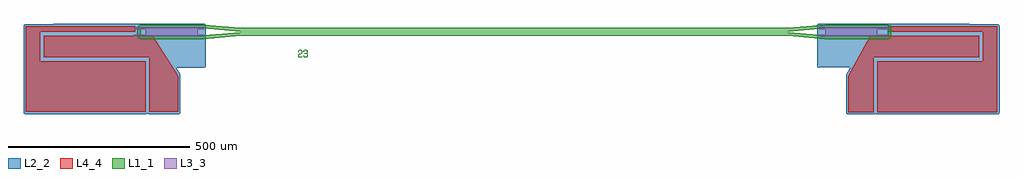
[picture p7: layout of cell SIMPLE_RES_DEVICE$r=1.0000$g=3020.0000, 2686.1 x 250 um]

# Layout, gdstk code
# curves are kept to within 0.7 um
import gdstk
lib = gdstk.Library(unit=1e-6, precision=1e-10)
def P(c, l, *ps):  # polygons
    for p in ps: c.add(gdstk.Polygon(p, *l))
L1_1 = (1, 1)
L2_2 = (2, 2)
L3_3 = (3, 3)
L4_4 = (4, 4)

simple_res_device_r_1_00 = lib.new_cell('SIMPLE_RES_DEVICE$r=1.0000$g=3020.0000')
P(simple_res_device_r_1_00, L1_1, [(-3350.848,-15.25),(-3357.1919,-12.9801),(-3360.6559,-7.2009),(-3360.6559,16.7009),(-3357.9191,21.8211),(-3352.7989,24.5579),(-3178.048,24.75),(-3077.579,15.35),(-2323.4,15.35),(-2323.4,5.35),(-3078.048,5.35),(-3178.048,14.75),(-3350.848,14.75),(-3350.848,-5.25),(-3178.048,-5.25),(-3078.048,4.15),(-2323.4,4.15),(-2323.4,-5.85),(-3077.579,-5.85),(-3178.048,-15.25)],
  [(-1468.752,-15.25),(-1569.221,-5.85),(-2323.4,-5.85),(-2323.4,4.15),(-1568.752,4.15),(-1468.752,-5.25),(-1295.952,-5.25),(-1295.952,14.75),(-1468.752,14.75),(-1568.752,5.35),(-2323.4,5.35),(-2323.4,15.35),(-1569.221,15.35),(-1468.752,24.75),(-1295.952,24.75),(-1290.3963,23.0647),(-1286.3826,17.6528),(-1285.952,-5.25),(-1286.7132,-9.0768),(-1288.8809,-12.3211),(-1292.1252,-14.4888),(-1295.952,-15.25)],
  [(-2898.466,-65.548),(-2900.924,-65.138),(-2901.944,-64.69),(-2902.878,-63.934),(-2903.454,-62.864),(-2903.628,-60.466),(-2902.064,-60.466),(-2901.802,-62.708),(-2901.036,-63.494),(-2899.882,-63.962),(-2898.584,-64.168),(-2896.268,-64.062),(-2895.162,-63.71),(-2894.238,-63.09),(-2893.566,-62.16),(-2893.566,-57.766),(-2893.794,-56.756),(-2894.41,-55.94),(-2895.288,-55.438),(-2896.506,-55.188),(-2900.782,-55.188),(-2900.782,-53.828),(-2896.798,-53.828),(-2895.778,-53.672),(-2894.79,-53.186),(-2894.048,-52.34),(-2893.754,-51.346),(-2893.882,-48.066),(-2894.458,-47.168),(-2895.376,-46.604),(-2896.426,-46.316),(-2898.562,-46.24),(-2900.878,-46.89),(-2901.644,-47.658),(-2901.92,-48.692),(-2901.92,-49.89),(-2903.486,-49.89),(-2903.486,-48.692),(-2903.336,-47.554),(-2902.814,-46.488),(-2901.928,-45.718),(-2899.572,-44.946),(-2897.154,-44.832),(-2894.712,-45.228),(-2893.724,-45.672),(-2892.838,-46.432),(-2892.332,-47.556),(-2892.3,-52.2),(-2892.704,-53.258),(-2893.446,-54.016),(-2894.434,-54.416),(-2892.576,-55.754),(-2892.134,-56.678),(-2892.008,-61.746),(-2892.182,-62.86),(-2892.758,-63.91),(-2893.692,-64.67),(-2896.07,-65.434)],
  [(-2918.154,-65.22),(-2918.154,-59.036),(-2917.846,-57.866),(-2917.008,-57.006),(-2915.862,-56.394),(-2910.242,-54.772),(-2909.198,-54.242),(-2908.408,-53.49),(-2908.526,-47.892),(-2909.166,-47.01),(-2911.316,-46.282),(-2914.93,-46.486),(-2915.886,-46.91),(-2916.636,-47.77),(-2916.866,-48.87),(-2916.866,-50.986),(-2918.4,-50.986),(-2918.328,-47.906),(-2917.894,-46.732),(-2917.112,-45.88),(-2914.874,-44.98),(-2911.096,-44.84),(-2908.748,-45.446),(-2907.87,-46.032),(-2907.166,-46.948),(-2906.788,-48.106),(-2906.788,-52.914),(-2906.97,-53.994),(-2907.594,-54.912),(-2908.478,-55.554),(-2910.566,-56.402),(-2914.274,-57.386),(-2915.396,-57.89),(-2916.274,-58.61),(-2916.534,-59.386),(-2916.534,-63.87),(-2906.708,-63.87),(-2906.708,-65.22)])
P(simple_res_device_r_1_00, L2_2, [(-1403.952,-222.5),(-1407.7584,-221.1381),(-1409.9231,-217.0881),(-1409.952,-116.5),(-1398.8806,-94.5),(-1483.952,-94.5),(-1486.7804,-93.7915),(-1488.9408,-91.8334),(-1489.952,-88.5),(-1489.952,21.5),(-1489.2435,24.3284),(-1486.7804,26.7915),(-1483.952,27.5),(-1073.952,27.5),(-1069.4894,25.5),(-993.3639,25.4711),(-990.6186,24.4888),(-988.6605,22.3284),(-987.952,19.5),(-987.952,-216.5),(-988.6605,-219.3284),(-991.1236,-221.7915),(-993.952,-222.5),(-1323.952,-222.5),(-1326.7804,-221.7915),(-1328.952,-219.8148),(-1331.1236,-221.7915),(-1333.952,-222.5)],
  [(-3668.048,-221.5),(-3672.2906,-219.7426),(-3674.048,-215.5),(-3674.048,19.5),(-3673.3395,22.3284),(-3670.8764,24.7915),(-3592.5106,25.5),(-3588.048,27.5),(-3178.048,27.5),(-3175.2196,26.7915),(-3172.7565,24.3284),(-3172.048,-88.5),(-3173.0592,-91.8334),(-3175.2196,-93.7915),(-3178.048,-94.5),(-3254.2998,-94.5),(-3242.0747,-114.9341),(-3242.048,-215.5),(-3242.7565,-218.3284),(-3245.2196,-220.7915),(-3328.048,-221.5),(-3330.8764,-220.7915),(-3333.048,-218.8148),(-3335.2196,-220.7915),(-3338.048,-221.5)])
P(simple_res_device_r_1_00, L3_3, [(-1483.952,-8),(-1483.952,-3),(-1468.197,-3),(-1468.197,11.75),(-1467.752,11.75),(-1467.752,-3),(-1467.752,-3),(-1466.397,-3),(-1466.397,11.75),(-1465.952,11.75),(-1465.952,-3),(-1464.597,-3),(-1464.597,11.75),(-1464.152,11.75),(-1464.152,-3),(-1462.797,-3),(-1462.797,11.75),(-1462.352,11.75),(-1462.352,-3),(-1460.997,-3),(-1460.997,11.75),(-1460.552,11.75),(-1460.552,-3),(-1459.197,-3),(-1459.197,11.75),(-1458.752,11.75),(-1458.752,-3),(-1457.397,-3),(-1457.397,11.75),(-1456.952,11.75),(-1456.952,-3),(-1455.597,-3),(-1455.597,11.75),(-1455.152,11.75),(-1455.152,-3),(-1453.797,-3),(-1453.797,11.75),(-1453.352,11.75),(-1453.352,-3),(-1451.997,-3),(-1451.997,11.75),(-1451.552,11.75),(-1451.552,-3),(-1450.197,-3),(-1450.197,11.75),(-1449.752,11.75),(-1449.752,-3),(-1448.397,-3),(-1448.397,11.75),(-1447.952,11.75),(-1447.952,-3),(-1446.597,-3),(-1446.597,11.75),(-1446.152,11.75),(-1446.152,-3),(-1444.797,-3),(-1444.797,11.75),(-1444.352,11.75),(-1444.352,-3),(-1442.997,-3),(-1442.997,11.75),(-1442.552,11.75),(-1442.552,-3),(-1441.197,-3),(-1441.197,11.75),(-1440.752,11.75),(-1440.752,-3),(-1439.397,-3),(-1439.397,11.75),(-1438.952,11.75),(-1438.952,-3),(-1437.597,-3),(-1437.597,11.75),(-1437.152,11.75),(-1437.152,-3),(-1435.797,-3),(-1435.797,11.75),(-1435.352,11.75),(-1435.352,-3),(-1433.997,-3),(-1433.997,11.75),(-1433.552,11.75),(-1433.552,-3),(-1432.197,-3),(-1432.197,11.75),(-1431.752,11.75),(-1431.752,-3),(-1430.397,-3),(-1430.397,11.75),(-1429.952,11.75),(-1429.952,-3),(-1428.597,-3),(-1428.597,11.75),(-1428.152,11.75),(-1428.152,-3),(-1426.797,-3),(-1426.797,11.75),(-1426.352,11.75),(-1426.352,-3),(-1424.997,-3),(-1424.997,11.75),(-1424.552,11.75),(-1424.552,-3),(-1423.197,-3),(-1423.197,11.75),(-1422.752,11.75),(-1422.752,-3),(-1421.397,-3),(-1421.397,11.75),(-1420.952,11.75),(-1420.952,-3),(-1419.597,-3),(-1419.597,11.75),(-1419.152,11.75),(-1419.152,-3),(-1417.797,-3),(-1417.797,11.75),(-1417.352,11.75),(-1417.352,-3),(-1415.997,-3),(-1415.997,11.75),(-1415.552,11.75),(-1415.552,-3),(-1414.197,-3),(-1414.197,11.75),(-1413.752,11.75),(-1413.752,-3),(-1412.397,-3),(-1412.397,11.75),(-1411.952,11.75),(-1411.952,-3),(-1410.597,-3),(-1410.597,11.75),(-1410.152,11.75),(-1410.152,-3),(-1408.797,-3),(-1408.797,11.75),(-1408.352,11.75),(-1408.352,-3),(-1406.997,-3),(-1406.997,11.75),(-1406.552,11.75),(-1406.552,-3),(-1405.197,-3),(-1405.197,11.75),(-1404.752,11.75),(-1404.752,-3),(-1403.397,-3),(-1403.397,11.75),(-1402.952,11.75),(-1402.952,-3),(-1401.597,-3),(-1401.597,11.75),(-1401.152,11.75),(-1401.152,-3),(-1399.797,-3),(-1399.797,11.75),(-1399.352,11.75),(-1399.352,-3),(-1397.997,-3),(-1397.997,11.75),(-1397.552,11.75),(-1397.552,-3),(-1396.197,-3),(-1396.197,11.75),(-1395.752,11.75),(-1395.752,-3),(-1394.397,-3),(-1394.397,11.75),(-1393.952,11.75),(-1393.952,-3),(-1392.597,-3),(-1392.597,11.75),(-1392.152,11.75),(-1392.152,-3),(-1390.797,-3),(-1390.797,11.75),(-1390.352,11.75),(-1390.352,-3),(-1388.997,-3),(-1388.997,11.75),(-1388.552,11.75),(-1388.552,-3),(-1387.197,-3),(-1387.197,11.75),(-1386.752,11.75),(-1386.752,-3),(-1385.397,-3),(-1385.397,11.75),(-1384.952,11.75),(-1384.952,-3),(-1383.597,-3),(-1383.597,11.75),(-1383.152,11.75),(-1383.152,-3),(-1381.797,-3),(-1381.797,11.75),(-1381.352,11.75),(-1381.352,-3),(-1379.997,-3),(-1379.997,11.75),(-1379.552,11.75),(-1379.552,-3),(-1378.197,-3),(-1378.197,11.75),(-1377.752,11.75),(-1377.752,-3),(-1376.397,-3),(-1376.397,11.75),(-1375.952,11.75),(-1375.952,-3),(-1374.597,-3),(-1374.597,11.75),(-1374.152,11.75),(-1374.152,-3),(-1372.797,-3),(-1372.797,11.75),(-1372.352,11.75),(-1372.352,-3),(-1370.997,-3),(-1370.997,11.75),(-1370.552,11.75),(-1370.552,-3),(-1369.197,-3),(-1369.197,11.75),(-1368.752,11.75),(-1368.752,-3),(-1367.397,-3),(-1367.397,11.75),(-1366.952,11.75),(-1366.952,-3),(-1365.597,-3),(-1365.597,11.75),(-1365.152,11.75),(-1365.152,-3),(-1363.797,-3),(-1363.797,11.75),(-1363.352,11.75),(-1363.352,-3),(-1361.997,-3),(-1361.997,11.75),(-1361.552,11.75),(-1361.552,-3),(-1360.197,-3),(-1360.197,11.75),(-1359.752,11.75),(-1359.752,-3),(-1358.397,-3),(-1358.397,11.75),(-1357.952,11.75),(-1357.952,-3),(-1356.597,-3),(-1356.597,11.75),(-1356.152,11.75),(-1356.152,-3),(-1354.797,-3),(-1354.797,11.75),(-1354.352,11.75),(-1354.352,-3),(-1352.997,-3),(-1352.997,11.75),(-1352.552,11.75),(-1352.552,-3),(-1351.197,-3),(-1351.197,11.75),(-1350.752,11.75),(-1350.752,-3),(-1349.397,-3),(-1349.397,11.75),(-1348.952,11.75),(-1348.952,-3),(-1347.597,-3),(-1347.597,11.75),(-1347.152,11.75),(-1347.152,-3),(-1345.797,-3),(-1345.797,11.75),(-1345.352,11.75),(-1345.352,-3),(-1343.997,-3),(-1343.997,11.75),(-1343.552,11.75),(-1343.552,-3),(-1342.197,-3),(-1342.197,11.75),(-1341.752,11.75),(-1341.752,-3),(-1340.397,-3),(-1340.397,11.75),(-1339.952,11.75),(-1339.952,-3),(-1338.597,-3),(-1338.597,11.75),(-1338.152,11.75),(-1338.152,-3),(-1336.797,-3),(-1336.797,11.75),(-1336.352,11.75),(-1336.352,-3),(-1334.997,-3),(-1334.997,11.75),(-1334.552,11.75),(-1334.552,-3),(-1333.197,-3),(-1333.197,11.75),(-1332.752,11.75),(-1332.752,-3),(-1331.397,-3),(-1331.397,11.75),(-1330.952,11.75),(-1330.952,-3),(-1329.597,-3),(-1329.597,11.75),(-1329.152,11.75),(-1329.152,-3),(-1327.797,-3),(-1327.797,11.75),(-1327.352,11.75),(-1327.352,-3),(-1325.997,-3),(-1325.997,11.75),(-1325.552,11.75),(-1325.552,-3),(-1291.952,-3),(-1291.952,-8)],
  [(-1467.297,-2.25),(-1467.297,12.5),(-1483.952,12.5),(-1483.952,17.5),(-1291.952,17.5),(-1291.952,12.5),(-1324.652,12.5),(-1324.652,-2.25),(-1325.097,-2.25),(-1325.097,12.5),(-1326.452,12.5),(-1326.452,-2.25),(-1326.897,-2.25),(-1326.897,12.5),(-1328.252,12.5),(-1328.252,-2.25),(-1328.697,-2.25),(-1328.697,12.5),(-1330.052,12.5),(-1330.052,-2.25),(-1330.497,-2.25),(-1330.497,12.5),(-1331.852,12.5),(-1331.852,-2.25),(-1332.297,-2.25),(-1332.297,12.5),(-1333.652,12.5),(-1333.652,-2.25),(-1334.097,-2.25),(-1334.097,12.5),(-1335.452,12.5),(-1335.452,-2.25),(-1335.897,-2.25),(-1335.897,12.5),(-1337.252,12.5),(-1337.252,-2.25),(-1337.697,-2.25),(-1337.697,12.5),(-1339.052,12.5),(-1339.052,-2.25),(-1339.497,-2.25),(-1339.497,12.5),(-1340.852,12.5),(-1340.852,-2.25),(-1341.297,-2.25),(-1341.297,12.5),(-1342.652,12.5),(-1342.652,-2.25),(-1343.097,-2.25),(-1343.097,12.5),(-1344.452,12.5),(-1344.452,-2.25),(-1344.897,-2.25),(-1344.897,12.5),(-1346.252,12.5),(-1346.252,-2.25),(-1346.697,-2.25),(-1346.697,12.5),(-1348.052,12.5),(-1348.052,-2.25),(-1348.497,-2.25),(-1348.497,12.5),(-1349.852,12.5),(-1349.852,-2.25),(-1350.297,-2.25),(-1350.297,12.5),(-1351.652,12.5),(-1351.652,-2.25),(-1352.097,-2.25),(-1352.097,12.5),(-1353.452,12.5),(-1353.452,-2.25),(-1353.897,-2.25),(-1353.897,12.5),(-1355.252,12.5),(-1355.252,-2.25),(-1355.697,-2.25),(-1355.697,12.5),(-1357.052,12.5),(-1357.052,-2.25),(-1357.497,-2.25),(-1357.497,12.5),(-1358.852,12.5),(-1358.852,-2.25),(-1359.297,-2.25),(-1359.297,12.5),(-1360.652,12.5),(-1360.652,-2.25),(-1361.097,-2.25),(-1361.097,12.5),(-1362.452,12.5),(-1362.452,-2.25),(-1362.897,-2.25),(-1362.897,12.5),(-1364.252,12.5),(-1364.252,-2.25),(-1364.697,-2.25),(-1364.697,12.5),(-1366.052,12.5),(-1366.052,-2.25),(-1366.497,-2.25),(-1366.497,12.5),(-1367.852,12.5),(-1367.852,-2.25),(-1368.297,-2.25),(-1368.297,12.5),(-1369.652,12.5),(-1369.652,-2.25),(-1370.097,-2.25),(-1370.097,12.5),(-1371.452,12.5),(-1371.452,-2.25),(-1371.897,-2.25),(-1371.897,12.5),(-1373.252,12.5),(-1373.252,-2.25),(-1373.697,-2.25),(-1373.697,12.5),(-1375.052,12.5),(-1375.052,-2.25),(-1375.497,-2.25),(-1375.497,12.5),(-1376.852,12.5),(-1376.852,-2.25),(-1377.297,-2.25),(-1377.297,12.5),(-1378.652,12.5),(-1378.652,-2.25),(-1379.097,-2.25),(-1379.097,12.5),(-1380.452,12.5),(-1380.452,-2.25),(-1380.897,-2.25),(-1380.897,12.5),(-1382.252,12.5),(-1382.252,-2.25),(-1382.697,-2.25),(-1382.697,12.5),(-1384.052,12.5),(-1384.052,-2.25),(-1384.497,-2.25),(-1384.497,12.5),(-1385.852,12.5),(-1385.852,-2.25),(-1386.297,-2.25),(-1386.297,12.5),(-1387.652,12.5),(-1387.652,-2.25),(-1388.097,-2.25),(-1388.097,12.5),(-1389.452,12.5),(-1389.452,-2.25),(-1389.897,-2.25),(-1389.897,12.5),(-1391.252,12.5),(-1391.252,-2.25),(-1391.697,-2.25),(-1391.697,12.5),(-1393.052,12.5),(-1393.052,-2.25),(-1393.497,-2.25),(-1393.497,12.5),(-1394.852,12.5),(-1394.852,-2.25),(-1395.297,-2.25),(-1395.297,12.5),(-1396.652,12.5),(-1396.652,-2.25),(-1397.097,-2.25),(-1397.097,12.5),(-1398.452,12.5),(-1398.452,-2.25),(-1398.897,-2.25),(-1398.897,12.5),(-1400.252,12.5),(-1400.252,-2.25),(-1400.697,-2.25),(-1400.697,12.5),(-1402.052,12.5),(-1402.052,-2.25),(-1402.497,-2.25),(-1402.497,12.5),(-1403.852,12.5),(-1403.852,-2.25),(-1404.297,-2.25),(-1404.297,12.5),(-1405.652,12.5),(-1405.652,-2.25),(-1406.097,-2.25),(-1406.097,12.5),(-1407.452,12.5),(-1407.452,-2.25),(-1407.897,-2.25),(-1407.897,12.5),(-1409.252,12.5),(-1409.252,-2.25),(-1409.697,-2.25),(-1409.697,12.5),(-1411.052,12.5),(-1411.052,-2.25),(-1411.497,-2.25),(-1411.497,12.5),(-1412.852,12.5),(-1412.852,-2.25),(-1413.297,-2.25),(-1413.297,12.5),(-1414.652,12.5),(-1414.652,-2.25),(-1415.097,-2.25),(-1415.097,12.5),(-1416.452,12.5),(-1416.452,-2.25),(-1416.897,-2.25),(-1416.897,12.5),(-1418.252,12.5),(-1418.252,-2.25),(-1418.697,-2.25),(-1418.697,12.5),(-1420.052,12.5),(-1420.052,-2.25),(-1420.497,-2.25),(-1420.497,12.5),(-1421.852,12.5),(-1421.852,-2.25),(-1422.297,-2.25),(-1422.297,12.5),(-1423.652,12.5),(-1423.652,-2.25),(-1424.097,-2.25),(-1424.097,12.5),(-1425.452,12.5),(-1425.452,-2.25),(-1425.897,-2.25),(-1425.897,12.5),(-1427.252,12.5),(-1427.252,-2.25),(-1427.697,-2.25),(-1427.697,12.5),(-1429.052,12.5),(-1429.052,-2.25),(-1429.497,-2.25),(-1429.497,12.5),(-1430.852,12.5),(-1430.852,-2.25),(-1431.297,-2.25),(-1431.297,12.5),(-1432.652,12.5),(-1432.652,-2.25),(-1433.097,-2.25),(-1433.097,12.5),(-1434.452,12.5),(-1434.452,-2.25),(-1434.897,-2.25),(-1434.897,12.5),(-1436.252,12.5),(-1436.252,-2.25),(-1436.697,-2.25),(-1436.697,12.5),(-1438.052,12.5),(-1438.052,-2.25),(-1438.497,-2.25),(-1438.497,12.5),(-1439.852,12.5),(-1439.852,-2.25),(-1440.297,-2.25),(-1440.297,12.5),(-1441.652,12.5),(-1441.652,-2.25),(-1442.097,-2.25),(-1442.097,12.5),(-1443.452,12.5),(-1443.452,-2.25),(-1443.897,-2.25),(-1443.897,12.5),(-1445.252,12.5),(-1445.252,-2.25),(-1445.697,-2.25),(-1445.697,12.5),(-1447.052,12.5),(-1447.052,-2.25),(-1447.497,-2.25),(-1447.497,12.5),(-1448.852,12.5),(-1448.852,-2.25),(-1449.297,-2.25),(-1449.297,12.5),(-1450.652,12.5),(-1450.652,-2.25),(-1451.097,-2.25),(-1451.097,12.5),(-1452.452,12.5),(-1452.452,-2.25),(-1452.897,-2.25),(-1452.897,-2.25),(-1452.897,12.5),(-1454.252,12.5),(-1454.252,-2.25),(-1454.697,-2.25),(-1454.697,12.5),(-1456.052,12.5),(-1456.052,-2.25),(-1456.497,-2.25),(-1456.497,12.5),(-1457.852,12.5),(-1457.852,-2.25),(-1458.297,-2.25),(-1458.297,12.5),(-1459.652,12.5),(-1459.652,-2.25),(-1460.097,-2.25),(-1460.097,12.5),(-1461.452,12.5),(-1461.452,-2.25),(-1461.897,-2.25),(-1461.897,12.5),(-1463.252,12.5),(-1463.252,-2.25),(-1463.697,-2.25),(-1463.697,12.5),(-1465.052,12.5),(-1465.052,-2.25),(-1465.497,-2.25),(-1465.497,12.5),(-1466.852,12.5),(-1466.852,-2.25)],
  [(-3370.048,-8),(-3370.048,-3),(-3336.448,-3),(-3336.448,11.75),(-3336.003,11.75),(-3336.003,-3),(-3334.648,-3),(-3334.648,11.75),(-3334.203,11.75),(-3334.203,-3),(-3332.848,-3),(-3332.848,11.75),(-3332.403,11.75),(-3332.403,-3),(-3331.048,-3),(-3331.048,11.75),(-3330.603,11.75),(-3330.603,-3),(-3329.248,-3),(-3329.248,11.75),(-3328.803,11.75),(-3328.803,-3),(-3327.448,-3),(-3327.448,11.75),(-3327.003,11.75),(-3327.003,-3),(-3325.648,-3),(-3325.648,11.75),(-3325.203,11.75),(-3325.203,-3),(-3323.848,-3),(-3323.848,11.75),(-3323.403,11.75),(-3323.403,-3),(-3322.048,-3),(-3322.048,11.75),(-3321.603,11.75),(-3321.603,-3),(-3320.248,-3),(-3320.248,11.75),(-3319.803,11.75),(-3319.803,-3),(-3318.448,-3),(-3318.448,11.75),(-3318.003,11.75),(-3318.003,-3),(-3316.648,-3),(-3316.648,11.75),(-3316.203,11.75),(-3316.203,-3),(-3314.848,-3),(-3314.848,11.75),(-3314.403,11.75),(-3314.403,11.75),(-3314.403,-3),(-3313.048,-3),(-3313.048,11.75),(-3312.603,11.75),(-3312.603,-3),(-3311.248,-3),(-3311.248,11.75),(-3310.803,11.75),(-3310.803,-3),(-3309.448,-3),(-3309.448,11.75),(-3309.003,11.75),(-3309.003,-3),(-3307.648,-3),(-3307.648,11.75),(-3307.203,11.75),(-3307.203,-3),(-3305.848,-3),(-3305.848,11.75),(-3305.403,11.75),(-3305.403,-3),(-3304.048,-3),(-3304.048,11.75),(-3303.603,11.75),(-3303.603,-3),(-3302.248,-3),(-3302.248,11.75),(-3301.803,11.75),(-3301.803,-3),(-3300.448,-3),(-3300.448,11.75),(-3300.003,11.75),(-3300.003,-3),(-3298.648,-3),(-3298.648,11.75),(-3298.203,11.75),(-3298.203,-3),(-3296.848,-3),(-3296.848,11.75),(-3296.403,11.75),(-3296.403,-3),(-3295.048,-3),(-3295.048,11.75),(-3294.603,11.75),(-3294.603,-3),(-3293.248,-3),(-3293.248,11.75),(-3292.803,11.75),(-3292.803,-3),(-3291.448,-3),(-3291.448,11.75),(-3291.003,11.75),(-3291.003,-3),(-3289.648,-3),(-3289.648,11.75),(-3289.203,11.75),(-3289.203,-3),(-3287.848,-3),(-3287.848,11.75),(-3287.403,11.75),(-3287.403,-3),(-3286.048,-3),(-3286.048,11.75),(-3285.603,11.75),(-3285.603,-3),(-3284.248,-3),(-3284.248,11.75),(-3283.803,11.75),(-3283.803,-3),(-3282.448,-3),(-3282.448,11.75),(-3282.003,11.75),(-3282.003,-3),(-3280.648,-3),(-3280.648,11.75),(-3280.203,11.75),(-3280.203,-3),(-3278.848,-3),(-3278.848,11.75),(-3278.403,11.75),(-3278.403,-3),(-3277.048,-3),(-3277.048,11.75),(-3276.603,11.75),(-3276.603,-3),(-3275.248,-3),(-3275.248,11.75),(-3274.803,11.75),(-3274.803,-3),(-3273.448,-3),(-3273.448,11.75),(-3273.003,11.75),(-3273.003,-3),(-3271.648,-3),(-3271.648,11.75),(-3271.203,11.75),(-3271.203,-3),(-3269.848,-3),(-3269.848,11.75),(-3269.403,11.75),(-3269.403,-3),(-3268.048,-3),(-3268.048,11.75),(-3267.603,11.75),(-3267.603,-3),(-3266.248,-3),(-3266.248,11.75),(-3265.803,11.75),(-3265.803,-3),(-3264.448,-3),(-3264.448,11.75),(-3264.003,11.75),(-3264.003,-3),(-3262.648,-3),(-3262.648,11.75),(-3262.203,11.75),(-3262.203,-3),(-3260.848,-3),(-3260.848,11.75),(-3260.403,11.75),(-3260.403,-3),(-3259.048,-3),(-3259.048,11.75),(-3258.603,11.75),(-3258.603,-3),(-3257.248,-3),(-3257.248,11.75),(-3256.803,11.75),(-3256.803,-3),(-3255.448,-3),(-3255.448,11.75),(-3255.003,11.75),(-3255.003,-3),(-3253.648,-3),(-3253.648,11.75),(-3253.203,11.75),(-3253.203,-3),(-3251.848,-3),(-3251.848,11.75),(-3251.403,11.75),(-3251.403,-3),(-3250.048,-3),(-3250.048,11.75),(-3249.603,11.75),(-3249.603,-3),(-3248.248,-3),(-3248.248,11.75),(-3247.803,11.75),(-3247.803,-3),(-3246.448,-3),(-3246.448,11.75),(-3246.003,11.75),(-3246.003,-3),(-3244.648,-3),(-3244.648,11.75),(-3244.203,11.75),(-3244.203,-3),(-3242.848,-3),(-3242.848,11.75),(-3242.403,11.75),(-3242.403,-3),(-3241.048,-3),(-3241.048,11.75),(-3240.603,11.75),(-3240.603,-3),(-3239.248,-3),(-3239.248,11.75),(-3238.803,11.75),(-3238.803,-3),(-3237.448,-3),(-3237.448,11.75),(-3237.003,11.75),(-3237.003,-3),(-3235.648,-3),(-3235.648,11.75),(-3235.203,11.75),(-3235.203,-3),(-3233.848,-3),(-3233.848,11.75),(-3233.403,11.75),(-3233.403,-3),(-3232.048,-3),(-3232.048,11.75),(-3231.603,11.75),(-3231.603,-3),(-3230.248,-3),(-3230.248,11.75),(-3229.803,11.75),(-3229.803,-3),(-3228.448,-3),(-3228.448,11.75),(-3228.003,11.75),(-3228.003,-3),(-3226.648,-3),(-3226.648,11.75),(-3226.203,11.75),(-3226.203,-3),(-3224.848,-3),(-3224.848,11.75),(-3224.403,11.75),(-3224.403,-3),(-3223.048,-3),(-3223.048,11.75),(-3222.603,11.75),(-3222.603,-3),(-3221.248,-3),(-3221.248,11.75),(-3220.803,11.75),(-3220.803,-3),(-3219.448,-3),(-3219.448,11.75),(-3219.003,11.75),(-3219.003,-3),(-3217.648,-3),(-3217.648,11.75),(-3217.203,11.75),(-3217.203,-3),(-3215.848,-3),(-3215.848,11.75),(-3215.403,11.75),(-3215.403,-3),(-3214.048,-3),(-3214.048,11.75),(-3213.603,11.75),(-3213.603,-3),(-3212.248,-3),(-3212.248,11.75),(-3211.803,11.75),(-3211.803,-3),(-3210.448,-3),(-3210.448,11.75),(-3210.003,11.75),(-3210.003,-3),(-3208.648,-3),(-3208.648,11.75),(-3208.203,11.75),(-3208.203,-3),(-3206.848,-3),(-3206.848,11.75),(-3206.403,11.75),(-3206.403,-3),(-3205.048,-3),(-3205.048,11.75),(-3204.603,11.75),(-3204.603,-3),(-3203.248,-3),(-3203.248,11.75),(-3202.803,11.75),(-3202.803,-3),(-3201.448,-3),(-3201.448,11.75),(-3201.003,11.75),(-3201.003,-3),(-3199.648,-3),(-3199.648,11.75),(-3199.203,11.75),(-3199.203,-3),(-3197.848,-3),(-3197.848,11.75),(-3197.403,11.75),(-3197.403,-3),(-3196.048,-3),(-3196.048,11.75),(-3195.603,11.75),(-3195.603,-3),(-3194.248,-3),(-3194.248,11.75),(-3193.803,11.75),(-3193.803,-3),(-3178.048,-3),(-3178.048,-8)],
  [(-3337.348,-2.25),(-3337.348,12.5),(-3370.048,12.5),(-3370.048,17.5),(-3178.048,17.5),(-3178.048,12.5),(-3194.703,12.5),(-3194.703,-2.25),(-3195.148,-2.25),(-3195.148,12.5),(-3196.503,12.5),(-3196.503,-2.25),(-3196.948,-2.25),(-3196.948,12.5),(-3198.303,12.5),(-3198.303,-2.25),(-3198.748,-2.25),(-3198.748,12.5),(-3200.103,12.5),(-3200.103,-2.25),(-3200.548,-2.25),(-3200.548,12.5),(-3201.903,12.5),(-3201.903,-2.25),(-3202.348,-2.25),(-3202.348,12.5),(-3203.703,12.5),(-3203.703,-2.25),(-3204.148,-2.25),(-3204.148,12.5),(-3205.503,12.5),(-3205.503,-2.25),(-3205.948,-2.25),(-3205.948,12.5),(-3207.303,12.5),(-3207.303,-2.25),(-3207.748,-2.25),(-3207.748,12.5),(-3209.103,12.5),(-3209.103,-2.25),(-3209.548,-2.25),(-3209.548,12.5),(-3210.903,12.5),(-3210.903,-2.25),(-3211.348,-2.25),(-3211.348,12.5),(-3212.703,12.5),(-3212.703,-2.25),(-3213.148,-2.25),(-3213.148,12.5),(-3214.503,12.5),(-3214.503,-2.25),(-3214.948,-2.25),(-3214.948,12.5),(-3216.303,12.5),(-3216.303,-2.25),(-3216.748,-2.25),(-3216.748,12.5),(-3218.103,12.5),(-3218.103,-2.25),(-3218.548,-2.25),(-3218.548,12.5),(-3219.903,12.5),(-3219.903,-2.25),(-3220.348,-2.25),(-3220.348,12.5),(-3221.703,12.5),(-3221.703,-2.25),(-3222.148,-2.25),(-3222.148,12.5),(-3223.503,12.5),(-3223.503,-2.25),(-3223.948,-2.25),(-3223.948,12.5),(-3225.303,12.5),(-3225.303,-2.25),(-3225.748,-2.25),(-3225.748,12.5),(-3227.103,12.5),(-3227.103,-2.25),(-3227.548,-2.25),(-3227.548,12.5),(-3228.903,12.5),(-3228.903,-2.25),(-3229.348,-2.25),(-3229.348,12.5),(-3230.703,12.5),(-3230.703,-2.25),(-3231.148,-2.25),(-3231.148,12.5),(-3232.503,12.5),(-3232.503,-2.25),(-3232.948,-2.25),(-3232.948,12.5),(-3234.303,12.5),(-3234.303,-2.25),(-3234.748,-2.25),(-3234.748,12.5),(-3236.103,12.5),(-3236.103,-2.25),(-3236.548,-2.25),(-3236.548,12.5),(-3237.903,12.5),(-3237.903,-2.25),(-3238.348,-2.25),(-3238.348,12.5),(-3239.703,12.5),(-3239.703,-2.25),(-3240.148,-2.25),(-3240.148,12.5),(-3241.503,12.5),(-3241.503,-2.25),(-3241.948,-2.25),(-3241.948,12.5),(-3243.303,12.5),(-3243.303,-2.25),(-3243.748,-2.25),(-3243.748,12.5),(-3245.103,12.5),(-3245.103,-2.25),(-3245.548,-2.25),(-3245.548,12.5),(-3246.903,12.5),(-3246.903,-2.25),(-3247.348,-2.25),(-3247.348,12.5),(-3248.703,12.5),(-3248.703,-2.25),(-3249.148,-2.25),(-3249.148,12.5),(-3250.503,12.5),(-3250.503,-2.25),(-3250.948,-2.25),(-3250.948,12.5),(-3252.303,12.5),(-3252.303,-2.25),(-3252.748,-2.25),(-3252.748,12.5),(-3254.103,12.5),(-3254.103,-2.25),(-3254.548,-2.25),(-3254.548,12.5),(-3255.903,12.5),(-3255.903,-2.25),(-3256.348,-2.25),(-3256.348,12.5),(-3257.703,12.5),(-3257.703,-2.25),(-3258.148,-2.25),(-3258.148,12.5),(-3259.503,12.5),(-3259.503,-2.25),(-3259.948,-2.25),(-3259.948,12.5),(-3261.303,12.5),(-3261.303,-2.25),(-3261.748,-2.25),(-3261.748,12.5),(-3263.103,12.5),(-3263.103,-2.25),(-3263.548,-2.25),(-3263.548,12.5),(-3264.903,12.5),(-3264.903,-2.25),(-3265.348,-2.25),(-3265.348,12.5),(-3266.703,12.5),(-3266.703,-2.25),(-3267.148,-2.25),(-3267.148,12.5),(-3268.503,12.5),(-3268.503,-2.25),(-3268.948,-2.25),(-3268.948,12.5),(-3270.303,12.5),(-3270.303,-2.25),(-3270.748,-2.25),(-3270.748,12.5),(-3272.103,12.5),(-3272.103,-2.25),(-3272.548,-2.25),(-3272.548,12.5),(-3273.903,12.5),(-3273.903,-2.25),(-3274.348,-2.25),(-3274.348,12.5),(-3275.703,12.5),(-3275.703,-2.25),(-3276.148,-2.25),(-3276.148,12.5),(-3277.503,12.5),(-3277.503,-2.25),(-3277.948,-2.25),(-3277.948,12.5),(-3279.303,12.5),(-3279.303,-2.25),(-3279.748,-2.25),(-3279.748,12.5),(-3281.103,12.5),(-3281.103,-2.25),(-3281.548,-2.25),(-3281.548,12.5),(-3282.903,12.5),(-3282.903,-2.25),(-3283.348,-2.25),(-3283.348,12.5),(-3284.703,12.5),(-3284.703,-2.25),(-3285.148,-2.25),(-3285.148,12.5),(-3286.503,12.5),(-3286.503,-2.25),(-3286.948,-2.25),(-3286.948,12.5),(-3288.303,12.5),(-3288.303,-2.25),(-3288.748,-2.25),(-3288.748,12.5),(-3290.103,12.5),(-3290.103,-2.25),(-3290.548,-2.25),(-3290.548,12.5),(-3291.903,12.5),(-3291.903,-2.25),(-3292.348,-2.25),(-3292.348,12.5),(-3293.703,12.5),(-3293.703,-2.25),(-3294.148,-2.25),(-3294.148,12.5),(-3295.503,12.5),(-3295.503,-2.25),(-3295.948,-2.25),(-3295.948,12.5),(-3297.303,12.5),(-3297.303,-2.25),(-3297.748,-2.25),(-3297.748,12.5),(-3299.103,12.5),(-3299.103,-2.25),(-3299.548,-2.25),(-3299.548,12.5),(-3300.903,12.5),(-3300.903,-2.25),(-3301.348,-2.25),(-3301.348,12.5),(-3302.703,12.5),(-3302.703,-2.25),(-3303.148,-2.25),(-3303.148,12.5),(-3304.503,12.5),(-3304.503,-2.25),(-3304.948,-2.25),(-3304.948,12.5),(-3306.303,12.5),(-3306.303,-2.25),(-3306.748,-2.25),(-3306.748,12.5),(-3308.103,12.5),(-3308.103,-2.25),(-3308.548,-2.25),(-3308.548,12.5),(-3308.548,12.5),(-3309.903,12.5),(-3309.903,-2.25),(-3310.348,-2.25),(-3310.348,12.5),(-3311.703,12.5),(-3311.703,-2.25),(-3312.148,-2.25),(-3312.148,12.5),(-3313.503,12.5),(-3313.503,-2.25),(-3313.948,-2.25),(-3313.948,12.5),(-3315.303,12.5),(-3315.303,-2.25),(-3315.748,-2.25),(-3315.748,12.5),(-3317.103,12.5),(-3317.103,-2.25),(-3317.548,-2.25),(-3317.548,12.5),(-3318.903,12.5),(-3318.903,-2.25),(-3319.348,-2.25),(-3319.348,12.5),(-3320.703,12.5),(-3320.703,-2.25),(-3321.148,-2.25),(-3321.148,12.5),(-3322.503,12.5),(-3322.503,-2.25),(-3322.948,-2.25),(-3322.948,12.5),(-3324.303,12.5),(-3324.303,-2.25),(-3324.748,-2.25),(-3324.748,12.5),(-3326.103,12.5),(-3326.103,-2.25),(-3326.548,-2.25),(-3326.548,12.5),(-3327.903,12.5),(-3327.903,-2.25),(-3328.348,-2.25),(-3328.348,12.5),(-3329.703,12.5),(-3329.703,-2.25),(-3330.148,-2.25),(-3330.148,12.5),(-3331.503,12.5),(-3331.503,-2.25),(-3331.948,-2.25),(-3331.948,12.5),(-3333.303,12.5),(-3333.303,-2.25),(-3333.748,-2.25),(-3333.748,12.5),(-3335.103,12.5),(-3335.103,-2.25),(-3335.548,-2.25),(-3335.548,12.5),(-3336.903,12.5),(-3336.903,-2.25)])
P(simple_res_device_r_1_00, L4_4, [(-1403.952,-216.5),(-1403.952,-116.5),(-1343.952,-5.5),(-1043.952,-5.5),(-1043.952,-5.5),(-1043.952,-65.5),(-1333.952,-65.5),(-1333.952,-216.5)],
  [(-1323.952,-216.5),(-1323.952,-75.5),(-1033.952,-75.5),(-1033.952,4.5),(-1295.952,4.5),(-1295.952,19.5),(-993.952,19.5),(-993.952,19.5),(-993.952,-216.5)],
  [(-3328.048,-215.5),(-3328.048,-65.5),(-3618.048,-65.5),(-3618.048,-5.5),(-3318.048,-5.5),(-3248.048,-115.5),(-3248.048,-115.5),(-3248.048,-215.5)],
  [(-3668.048,-215.5),(-3668.048,19.5),(-3366.048,19.5),(-3366.048,4.5),(-3366.048,4.5),(-3628.048,4.5),(-3628.048,-75.5),(-3338.048,-75.5),(-3338.048,-215.5)])

lib.write_gds('SIMPLE_RES_DEVICE_r_1.0000_g_3020.0000.gds')
